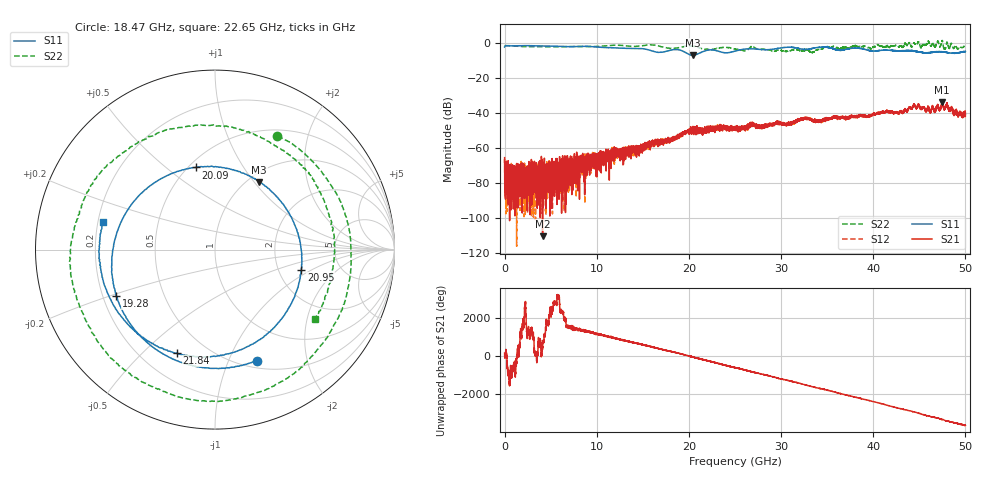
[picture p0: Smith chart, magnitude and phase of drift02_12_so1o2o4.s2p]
!Created with skrf (http://scikit-rf.org).
# Hz S RI R 50.0
!freq ReS11 ImS11 ReS21 ImS21 ReS12 ImS12 ReS22 ImS22
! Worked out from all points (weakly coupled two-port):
!   10001 points, 300 kHz to 50 GHz, reference 50 ohm
!   highest |S21| = -33.51 dB at 47.5 GHz (marker M1); lowest = -110.3 dB at 4.12 GHz (marker M2)
!   lowest |S11| = -6.9 dB at 20.42 GHz (marker M3), VSWR 2.63, Z = 56.2 + j53 ohm
!   |S11| at or under -10 dB: nowhere
!   |S22| runs from -5.3 to 1.6 dB; largest |S21 - S12| = 0.0034
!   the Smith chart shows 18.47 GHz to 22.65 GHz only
!   S11 on the Smith chart (normalised r, x): 18.47 GHz: 0.58, -1.27; 19.28 GHz: 0.26, -0.21; 20.09 GHz: 0.54, +0.64; 20.95 GHz: 2.69, -0.79; 21.84 GHz: 0.34, -0.64; 22.65 GHz: 0.22, +0.12
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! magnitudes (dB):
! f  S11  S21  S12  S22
! 300 kHz  -2.1  -65.4  -65.9  -1.3
! 260.3 MHz  -1.4  -73.5  -81.6  -1.4
! 4.12 GHz  -1.6  -110.3  -73.2  -2.0
! 5.34 GHz  -1.6  -71.3  -76.4  -2.0
! 8.335 GHz  -1.7  -67.5  -69.3  -1.9
! 16.67 GHz  -5.2  -54.9  -56.1  -1.5
! 18.47 GHz  -3.6  -54.9  -54.1  -2.8
! 19.28 GHz  -4.3  -51.7  -51.9  -2.1
! 20.09 GHz  -6.6  -49.3  -49.3  -1.5
! 20.42 GHz  -6.9  -50.9  -51.3  -1.7
! 20.95 GHz  -6.1  -50.6  -48.6  -2.3
! 21.84 GHz  -4.2  -50.0  -50.6  -3.5
! 22.65 GHz  -3.9  -48.1  -49.4  -3.4
! 25 GHz  -4.5  -49.5  -48.5  -3.2
! 26.11 GHz  -3.3  -48.8  -49.3  -4.3
! 26.9 GHz  -3.2  -46.7  -46.1  -1.6
! 33.34 GHz  -3.0  -43.2  -43.8  -5.2
! 34.9 GHz  -2.3  -43.1  -43.7  -2.2
! 41.67 GHz  -4.0  -39.1  -39.3  -2.1
! 44.38 GHz  -4.6  -35.7  -35.5  0.0
! 47.5 GHz  -4.9  -33.5  -33.8  0.9
! 50 GHz  -4.7  -41.5  -40.6  -1.4
